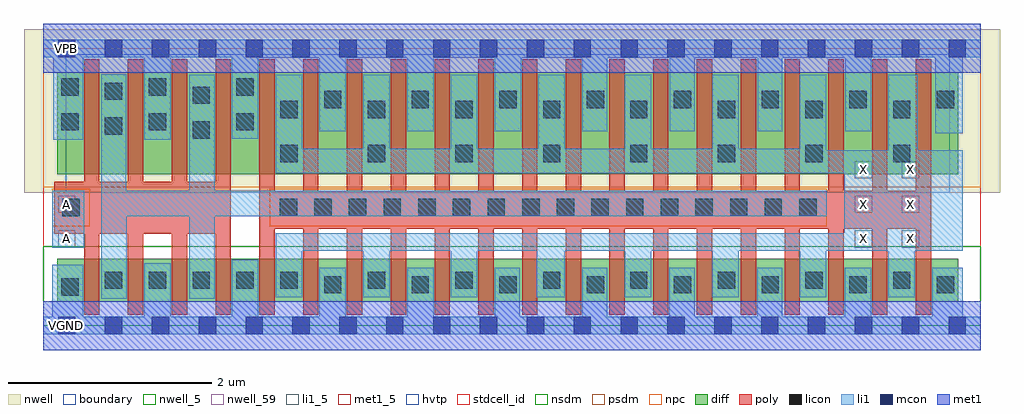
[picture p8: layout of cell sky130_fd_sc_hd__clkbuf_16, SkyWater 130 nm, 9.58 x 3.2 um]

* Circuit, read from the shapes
.subckt sky130_fd_sc_hd__clkbuf_16 A VGND VNB VPB VPWR X
XM1 n1 A VGND VNB sky130_fd_pr__nfet_01v8 w=0.42 l=0.15 m=4
XM2 X n1 VGND VNB sky130_fd_pr__nfet_01v8 w=0.42 l=0.15 m=16
XM3 n1 A VPWR VPB sky130_fd_pr__pfet_01v8_hvt w=1 l=0.15 m=4
XM4 X n1 VPWR VPB sky130_fd_pr__pfet_01v8_hvt w=1 l=0.15 m=16
.ends

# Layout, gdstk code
import gdstk
lib = gdstk.Library(unit=1e-6, precision=1e-09)
def R(c, l, rs):  # rectangles x0, y0, x1, y1
    for r in rs: c.add(gdstk.rectangle(r[:2], r[2:], *l))
def A(c, l, x, y, w, h, nx, ny, dx, dy):  # array of equal rectangles
    R(c, l, [(x+i*dx, y+j*dy, x+i*dx+w, y+j*dy+h) for i in range(nx) for j in range(ny)])
nwell_5 = (64, 5)
nwell = (64, 20)
nwell_59 = (64, 59)
diff = (65, 20)
poly = (66, 20)
licon = (66, 44)
li1_5 = (67, 5)
li1 = (67, 20)
mcon = (67, 44)
met1_5 = (68, 5)
met1 = (68, 20)
hvtp = (78, 44)
stdcell_id = (81, 4)
nsdm = (93, 44)
psdm = (94, 20)
npc = (95, 20)
boundary = (235, 4)

sky130_fd_sc_hd__clkbuf_ = lib.new_cell('sky130_fd_sc_hd__clkbuf_16')
R(sky130_fd_sc_hd__clkbuf_, nwell_5, [(0.145,2.635,0.315,2.805)])
R(sky130_fd_sc_hd__clkbuf_, nwell, [(-0.19,1.305,9.39,2.91)])
R(sky130_fd_sc_hd__clkbuf_, nwell_59, [(0.145,-0.085,0.315,0.085)])
R(sky130_fd_sc_hd__clkbuf_, diff, [(0.135,0.235,8.98,0.655), (0.135,1.485,8.98,2.485)])
A(sky130_fd_sc_hd__clkbuf_, poly, 0.4, 0.105, 0.15, 0.795, 4, 1, 0.43, 0)
A(sky130_fd_sc_hd__clkbuf_, poly, 2.12, 0.105, 0.15, 0.845, 8, 1, 0.43, 0)
A(sky130_fd_sc_hd__clkbuf_, poly, 5.555, 0.105, 0.15, 0.845, 8, 1, 0.43, 0)
A(sky130_fd_sc_hd__clkbuf_, poly, 2.12, 1.325, 0.15, 1.29, 8, 1, 0.43, 0)
A(sky130_fd_sc_hd__clkbuf_, poly, 5.555, 1.325, 0.15, 1.29, 8, 1, 0.43, 0)
A(sky130_fd_sc_hd__clkbuf_, poly, 0.4, 1.41, 0.15, 1.205, 4, 1, 0.43, 0)
R(sky130_fd_sc_hd__clkbuf_, poly, [(0.105,0.9,1.84,1.41), (2.12,0.95,8.715,1.325)])
A(sky130_fd_sc_hd__clkbuf_, licon, 2.755, 0.315, 0.17, 0.17, 4, 2, 0.86, 1.82)
A(sky130_fd_sc_hd__clkbuf_, licon, 6.19, 0.315, 0.17, 0.17, 4, 2, 0.86, 1.82)
A(sky130_fd_sc_hd__clkbuf_, licon, 0.605, 0.36, 0.17, 0.17, 5, 1, 0.43, 0)
A(sky130_fd_sc_hd__clkbuf_, licon, 3.185, 0.36, 0.17, 0.17, 3, 1, 0.86, 0)
A(sky130_fd_sc_hd__clkbuf_, licon, 5.76, 0.36, 0.17, 0.17, 4, 2, 0.86, 1.245)
A(sky130_fd_sc_hd__clkbuf_, licon, 2.32, 1.075, 0.17, 0.17, 16, 1, 0.34, 0)
A(sky130_fd_sc_hd__clkbuf_, licon, 2.325, 1.605, 0.17, 0.17, 4, 2, 0.86, 0.43)
A(sky130_fd_sc_hd__clkbuf_, licon, 0.175, 1.915, 0.17, 0.17, 3, 2, 0.86, 0.34)
A(sky130_fd_sc_hd__clkbuf_, licon, 5.76, 2.035, 0.17, 0.17, 4, 1, 0.86, 0)
R(sky130_fd_sc_hd__clkbuf_, licon, [(0.175,0.295,0.345,0.465), (0.185,1.075,0.355,1.245), (1.465,1.835,1.635,2.005), (0.605,1.875,0.775,2.045), (1.465,2.175,1.635,2.345), (0.605,2.215,0.775,2.385)])
A(sky130_fd_sc_hd__clkbuf_, li1_5, 7.965, 0.765, 0.17, 0.17, 1, 3, 0, 0.34)
A(sky130_fd_sc_hd__clkbuf_, li1_5, 8.425, 0.765, 0.17, 0.17, 1, 3, 0, 0.34)
R(sky130_fd_sc_hd__clkbuf_, li1_5, [(0.145,0.765,0.315,0.935), (0.145,1.105,0.315,1.275)])
A(sky130_fd_sc_hd__clkbuf_, li1, 2.28, 0.28, 0.26, 0.455, 3, 1, 0.86, 0)
A(sky130_fd_sc_hd__clkbuf_, li1, 5.705, 0.28, 0.26, 0.455, 3, 1, 0.86, 0)
A(sky130_fd_sc_hd__clkbuf_, li1, 2.28, 1.735, 0.26, 0.725, 4, 1, 0.86, 0)
A(sky130_fd_sc_hd__clkbuf_, li1, 5.705, 1.735, 0.26, 0.725, 3, 1, 0.86, 0)
A(sky130_fd_sc_hd__clkbuf_, li1, 2.71, 1.905, 0.26, 0.725, 3, 1, 0.86, 0)
A(sky130_fd_sc_hd__clkbuf_, li1, 5.29, 1.905, 0.245, 0.725, 3, 1, 0.86, 0)
R(sky130_fd_sc_hd__clkbuf_, li1, [(0,-0.085,9.2,0.085), (0.085,0.085,0.39,0.595), (0.99,0.085,1.25,0.61), (1.85,0.085,2.11,0.645), (2.71,0.085,2.97,0.565), (3.57,0.085,3.83,0.565), (4.43,0.085,4.675,0.565), (5.29,0.085,5.535,0.565), (6.145,0.085,6.395,0.565), (7.005,0.085,7.255,0.565), (7.865,0.085,8.125,0.565), (8.725,0.085,9.025,0.565), (0.57,0.265,0.82,1.075), (1.43,0.265,1.68,1.075), (4.845,0.28,5.12,0.735), (8.295,0.28,8.555,0.735), (2.28,0.735,9.025,0.905), (0.085,0.765,0.4,1.325), (7.86,0.905,9.025,1.495), (0.57,1.075,7.69,1.325), (0.57,1.325,0.815,2.465), (1.43,1.325,1.68,2.46), (2.28,1.495,9.025,1.72), (2.28,1.72,7.685,1.735), (8.295,1.72,8.585,2.46), (0.095,1.825,0.39,2.635), (0.99,1.825,1.25,2.635), (1.85,1.835,2.11,2.63), (8.755,1.89,9.025,2.635), (7.87,1.905,8.125,2.63), (1.85,2.63,8.125,2.635), (0,2.635,9.2,2.805)])
A(sky130_fd_sc_hd__clkbuf_, mcon, 0.145, -0.085, 0.17, 0.17, 20, 2, 0.46, 2.72)
R(sky130_fd_sc_hd__clkbuf_, met1_5, [(0.145,-0.085,0.315,0.085), (0.145,2.635,0.315,2.805)])
R(sky130_fd_sc_hd__clkbuf_, met1, [(0,-0.24,9.2,0.24), (0,2.48,9.2,2.96)])
R(sky130_fd_sc_hd__clkbuf_, hvtp, [(0.22,1.305,8.895,2.665)])
R(sky130_fd_sc_hd__clkbuf_, stdcell_id, [(0,0,9.2,2.72)])
R(sky130_fd_sc_hd__clkbuf_, nsdm, [(0,0,9.2,0.78)])
R(sky130_fd_sc_hd__clkbuf_, psdm, [(0,1.36,9.2,2.72)])
R(sky130_fd_sc_hd__clkbuf_, npc, [(0.085,0.975,0.455,1.345), (2.22,0.975,7.69,1.345)])
R(sky130_fd_sc_hd__clkbuf_, boundary, [(0,0,9.2,2.72)])
sky130_fd_sc_hd__clkbuf_.add(gdstk.Label('A', (0.23,0.85), layer=67, texttype=5))
sky130_fd_sc_hd__clkbuf_.add(gdstk.Label('A', (0.23,1.19), layer=67, texttype=5))
sky130_fd_sc_hd__clkbuf_.add(gdstk.Label('VGND', (0.23,0), layer=68, texttype=5))
sky130_fd_sc_hd__clkbuf_.add(gdstk.Label('VNB', (0.23,0), layer=64, texttype=59))
sky130_fd_sc_hd__clkbuf_.add(gdstk.Label('VNB', (0.23,0), layer=64, texttype=59))
sky130_fd_sc_hd__clkbuf_.add(gdstk.Label('VPB', (0.23,2.72), layer=64, texttype=5))
sky130_fd_sc_hd__clkbuf_.add(gdstk.Label('VPB', (0.23,2.72), layer=64, texttype=5))
sky130_fd_sc_hd__clkbuf_.add(gdstk.Label('VPWR', (0.23,2.72), layer=68, texttype=5))
sky130_fd_sc_hd__clkbuf_.add(gdstk.Label('X', (8.05,1.53), layer=67, texttype=5))
sky130_fd_sc_hd__clkbuf_.add(gdstk.Label('X', (8.51,1.53), layer=67, texttype=5))
sky130_fd_sc_hd__clkbuf_.add(gdstk.Label('X', (8.51,1.19), layer=67, texttype=5))
sky130_fd_sc_hd__clkbuf_.add(gdstk.Label('X', (8.05,1.19), layer=67, texttype=5))
sky130_fd_sc_hd__clkbuf_.add(gdstk.Label('X', (8.05,0.85), layer=67, texttype=5))
sky130_fd_sc_hd__clkbuf_.add(gdstk.Label('X', (8.51,0.85), layer=67, texttype=5))

lib.write_gds('sky130_fd_sc_hd__clkbuf_16.gds')
